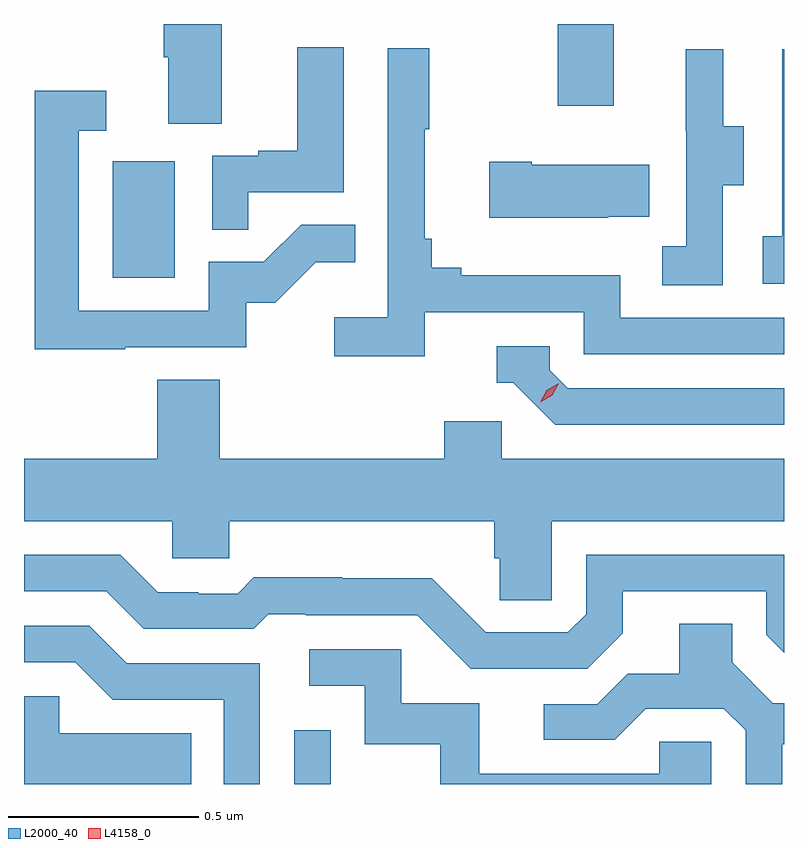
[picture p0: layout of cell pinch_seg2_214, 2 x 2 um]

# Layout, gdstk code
import gdstk
lib = gdstk.Library(unit=1e-6, precision=1e-09)
def R(c, l, rs):  # rectangles x0, y0, x1, y1
    for r in rs: c.add(gdstk.rectangle(r[:2], r[2:], *l))
def P(c, l, *ps):  # polygons
    for p in ps: c.add(gdstk.Polygon(p, *l))
L2000_40 = (2000, 40)
L4158_0 = (4158, 0)

pinch_seg2_214 = lib.new_cell('pinch_seg2_214')
R(pinch_seg2_214, L2000_40, [(957.672,649.608,957.768,649.75), (957.194,650.94,957.358,651.247), (958.366,651.393,958.513,651.608)])
P(pinch_seg2_214, L2000_40, [(957.481,651.608),(957.329,651.608),(957.329,651.52),(957.341,651.52),(957.341,651.346),(957.481,651.346)],
  [(957.551,651.165),(957.802,651.165),(957.802,651.547),(957.68,651.547),(957.68,651.274),(957.577,651.274),(957.577,651.261),(957.456,651.261),(957.456,651.067),(957.551,651.067)],
  [(958.016,650.85),(958.434,650.85),(958.434,650.739),(958.961,650.739),(958.961,650.835),(958.53,650.835),(958.53,650.947),(958.111,650.947),(958.111,650.966),(958.034,650.966),(958.034,651.043),(958.015,651.043),(958.015,651.331),(958.027,651.331),(958.027,651.544),(957.918,651.544),(957.918,650.836),(957.777,650.836),(957.777,650.734),(958.016,650.734)],
  [(958.961,651.541),(958.956,651.541),(958.956,651.05),(958.905,651.05),(958.905,650.925),(958.961,650.925)],
  [(958.8,651.184),(958.855,651.184),(958.855,651.339),(958.801,651.339),(958.801,651.541),(958.703,651.541),(958.703,651.327),(958.704,651.327),(958.704,651.023),(958.641,651.023),(958.641,650.92),(958.8,650.92)],
  [(957.227,650.757),(957.546,650.757),(957.546,650.874),(957.622,650.874),(957.729,650.981),(957.833,650.981),(957.833,651.08),(957.69,651.08),(957.592,650.982),(957.447,650.982),(957.447,650.853),(957.105,650.853),(957.105,651.327),(957.178,651.327),(957.178,651.433),(956.989,651.433),(956.989,650.752),(957.227,650.752)],
  [(958.499,651.101),(958.607,651.101),(958.607,651.238),(958.297,651.238),(958.297,651.246),(958.185,651.246),(958.185,651.098),(958.499,651.098)],
  [(958.961,650.649),(958.392,650.649),(958.344,650.697),(958.344,650.76),(958.205,650.76),(958.205,650.664),(958.248,650.664),(958.359,650.553),(958.961,650.553)],
  [(958.35,650.3),(958.961,650.3),(958.961,650.464),(958.218,650.464),(958.218,650.562),(958.067,650.562),(958.067,650.464),(957.476,650.464),(957.476,650.672),(957.311,650.672),(957.311,650.464),(956.961,650.464),(956.961,650.3),(957.351,650.3),(957.351,650.202),(957.501,650.202),(957.501,650.3),(958.199,650.3),(958.199,650.202),(958.213,650.202),(958.213,650.092),(958.35,650.092)],
  [(958.537,650.005),(958.537,650.115),(958.914,650.115),(958.914,650.001),(958.961,649.954),(958.961,650.211),(958.44,650.211),(958.44,650.055),(958.392,650.007),(958.176,650.007),(958.034,650.149),(957.798,650.149),(957.798,650.152),(957.565,650.152),(957.523,650.109),(957.42,650.109),(957.42,650.112),(957.313,650.112),(957.214,650.211),(956.961,650.211),(956.961,650.115),(957.177,650.115),(957.276,650.016),(957.565,650.016),(957.604,650.055),(957.703,650.055),(957.703,650.052),(957.996,650.052),(958.137,649.911),(958.443,649.911)],
  [(958.957,649.713),(958.961,649.713),(958.961,649.821),(958.932,649.821),(958.825,649.928),(958.825,650.03),(958.685,650.03),(958.685,649.898),(958.55,649.898),(958.47,649.818),(958.329,649.818),(958.329,649.725),(958.516,649.725),(958.597,649.806),(958.803,649.806),(958.86,649.749),(958.86,649.608),(958.957,649.608)],
  [(957.582,649.926),(957.232,649.926),(957.133,650.025),(956.961,650.025),(956.961,649.929),(957.096,649.929),(957.195,649.83),(957.486,649.83),(957.486,649.608),(957.582,649.608)],
  [(958.77,649.719),(958.633,649.719),(958.633,649.635),(958.159,649.635),(958.159,649.821),(957.954,649.821),(957.954,649.962),(957.711,649.962),(957.711,649.866),(957.858,649.866),(957.858,649.713),(958.057,649.713),(958.057,649.608),(958.77,649.608)],
  [(957.401,649.741),(957.054,649.741),(957.054,649.839),(956.961,649.839),(956.961,649.608),(957.401,649.608)])
P(pinch_seg2_214, L4158_0, [(958.32,650.612),(958.32,650.612),(958.337,650.644),(958.368,650.663),(958.368,650.663),(958.368,650.663),(958.351,650.631),(958.32,650.612)])

lib.write_gds('pinch_seg2_214.gds')
